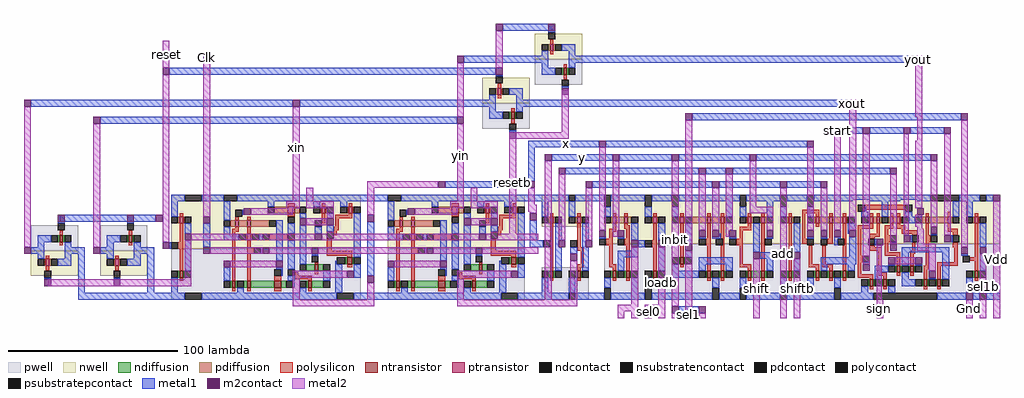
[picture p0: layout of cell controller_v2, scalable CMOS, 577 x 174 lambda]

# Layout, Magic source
magic
tech scmos
<< pwell >>
rect -18 -31 13 -1
rect 201 -31 229 -12
rect 238 -31 472 2
<< nwell >>
rect -18 -1 13 31
rect 201 12 229 31
rect 238 2 472 31
<< polysilicon >>
rect 355 20 365 22
rect 392 22 416 25
rect -13 18 -11 20
rect 206 18 208 20
rect 222 18 224 20
rect 243 18 245 20
rect 250 18 252 20
rect 267 18 269 20
rect 283 18 285 20
rect 299 18 301 20
rect 307 18 309 20
rect 323 18 325 20
rect 331 18 333 20
rect 347 18 349 20
rect -13 3 -11 14
rect -14 -1 -11 3
rect -13 -14 -11 -1
rect 206 -14 208 14
rect 222 0 224 14
rect 243 11 245 14
rect 250 13 252 14
rect 250 11 253 13
rect 241 9 245 11
rect 241 5 243 9
rect 251 5 253 11
rect 239 1 243 5
rect 250 1 253 5
rect 267 4 269 14
rect 283 5 285 14
rect 299 5 301 14
rect 307 5 309 14
rect 323 12 325 14
rect 318 10 325 12
rect 318 5 320 10
rect 222 -2 226 0
rect 224 -10 226 -2
rect 222 -12 226 -10
rect 241 -10 243 1
rect 241 -12 245 -10
rect 222 -14 224 -12
rect 243 -14 245 -12
rect 251 -14 253 1
rect 266 0 269 4
rect 282 1 285 5
rect 298 1 301 5
rect 308 1 309 5
rect 316 1 320 5
rect 267 -14 269 0
rect 283 -6 285 1
rect 283 -12 285 -10
rect 299 -14 301 1
rect 307 -14 309 1
rect 318 -10 320 1
rect 318 -12 325 -10
rect 323 -14 325 -12
rect 331 -14 333 14
rect 347 -3 349 14
rect 355 5 357 20
rect 363 18 365 20
rect 371 18 373 20
rect 379 18 381 20
rect 395 18 397 20
rect 399 18 401 20
rect 407 18 409 20
rect 411 18 413 20
rect 428 18 430 20
rect 441 18 443 21
rect 457 18 459 20
rect 363 12 365 14
rect 371 5 373 14
rect 379 5 381 14
rect 395 13 397 14
rect 355 2 358 5
rect 370 2 373 5
rect 380 1 381 5
rect 346 -7 349 -3
rect 347 -14 349 -7
rect 359 -10 361 1
rect 367 -10 369 1
rect 359 -12 365 -10
rect 367 -12 373 -10
rect 363 -14 365 -12
rect 371 -14 373 -12
rect 379 -14 381 1
rect 388 11 397 13
rect 388 -5 390 11
rect 399 8 401 14
rect 407 13 409 14
rect 395 6 401 8
rect 404 11 409 13
rect 411 13 413 14
rect 411 11 416 13
rect 404 7 406 11
rect 414 10 416 11
rect 414 8 423 10
rect 420 7 423 8
rect 428 7 430 14
rect 441 11 443 14
rect 441 9 447 11
rect 444 7 447 9
rect 395 5 398 6
rect 395 0 398 1
rect 404 3 407 7
rect 428 3 431 7
rect 395 -2 402 0
rect 388 -9 391 -5
rect 388 -16 390 -9
rect 400 -15 402 -2
rect 404 -3 406 3
rect 420 -2 422 3
rect 404 -5 413 -3
rect 411 -11 413 -5
rect 419 -4 422 -2
rect 419 -11 421 -4
rect 428 -11 430 3
rect 444 0 447 3
rect 445 -9 447 0
rect 457 -6 459 14
rect 454 -8 459 -6
rect 427 -13 430 -11
rect 435 -11 447 -9
rect 388 -18 397 -16
rect 400 -17 405 -15
rect 411 -17 413 -15
rect 419 -17 421 -15
rect -13 -20 -11 -18
rect 206 -20 208 -18
rect 222 -20 224 -18
rect 243 -20 245 -18
rect 251 -20 253 -18
rect 267 -20 269 -18
rect 299 -20 301 -18
rect 307 -20 309 -18
rect 323 -20 325 -18
rect 331 -20 333 -18
rect 347 -20 349 -18
rect 363 -20 365 -18
rect 371 -20 373 -18
rect 379 -20 381 -18
rect 395 -19 397 -18
rect 403 -19 405 -17
rect 427 -19 429 -13
rect 435 -19 437 -11
rect 457 -14 459 -8
rect 457 -20 459 -18
rect 395 -25 397 -23
rect 403 -25 405 -23
rect 427 -25 429 -23
rect 435 -25 437 -23
<< ndiffusion >>
rect 282 -10 283 -6
rect 285 -10 286 -6
rect -14 -18 -13 -14
rect -11 -18 -10 -14
rect 205 -18 206 -14
rect 208 -18 209 -14
rect 221 -18 222 -14
rect 224 -18 225 -14
rect 242 -18 243 -14
rect 245 -18 246 -14
rect 250 -18 251 -14
rect 253 -18 254 -14
rect 266 -18 267 -14
rect 269 -18 270 -14
rect 298 -18 299 -14
rect 301 -18 302 -14
rect 306 -18 307 -14
rect 309 -18 310 -14
rect 322 -18 323 -14
rect 325 -18 331 -14
rect 333 -18 334 -14
rect 346 -18 347 -14
rect 349 -18 350 -14
rect 362 -18 363 -14
rect 365 -18 366 -14
rect 370 -18 371 -14
rect 373 -18 374 -14
rect 378 -18 379 -14
rect 381 -18 382 -14
rect 410 -15 411 -11
rect 413 -15 414 -11
rect 418 -15 419 -11
rect 421 -15 422 -11
rect 456 -18 457 -14
rect 459 -18 460 -14
rect 394 -23 395 -19
rect 397 -23 398 -19
rect 402 -23 403 -19
rect 405 -23 406 -19
rect 426 -23 427 -19
rect 429 -23 430 -19
rect 434 -23 435 -19
rect 437 -23 438 -19
<< pdiffusion >>
rect -14 14 -13 18
rect -11 14 -10 18
rect 205 14 206 18
rect 208 14 209 18
rect 221 14 222 18
rect 224 14 225 18
rect 242 14 243 18
rect 245 14 250 18
rect 252 14 254 18
rect 266 14 267 18
rect 269 14 270 18
rect 282 14 283 18
rect 285 14 286 18
rect 290 14 299 18
rect 301 14 307 18
rect 309 14 310 18
rect 322 14 323 18
rect 325 14 326 18
rect 330 14 331 18
rect 333 14 334 18
rect 346 14 347 18
rect 349 14 350 18
rect 362 14 363 18
rect 365 14 371 18
rect 373 14 379 18
rect 381 14 382 18
rect 394 14 395 18
rect 397 14 399 18
rect 401 14 402 18
rect 406 14 407 18
rect 409 14 411 18
rect 413 14 414 18
rect 426 14 428 18
rect 430 14 441 18
rect 443 14 444 18
rect 456 14 457 18
rect 459 14 460 18
<< metal1 >>
rect 178 128 209 132
rect 155 109 197 113
rect 225 109 422 113
rect -19 102 174 106
rect -101 83 54 87
rect 58 83 166 87
rect 191 83 383 87
rect -60 73 151 77
rect 290 75 449 79
rect 378 67 391 71
rect 395 67 415 71
rect 419 67 439 71
rect 193 59 235 63
rect 239 59 358 63
rect 193 39 197 59
rect 207 51 243 55
rect 247 51 278 55
rect 282 51 324 55
rect 328 51 431 55
rect 215 43 294 47
rect 298 43 310 47
rect 314 43 407 47
rect 144 35 193 39
rect 231 35 302 39
rect 306 35 342 39
rect 346 35 366 39
rect -18 27 -10 31
rect 0 27 8 31
rect 199 27 217 31
rect 221 27 238 31
rect -84 15 -27 19
rect -18 18 -14 27
rect -10 8 -6 14
rect -73 -27 -69 0
rect -32 -27 -28 0
rect -19 -1 -18 3
rect -10 -14 -6 4
rect 1 0 5 14
rect 98 -17 102 15
rect 194 4 198 16
rect 201 18 205 27
rect 217 18 221 27
rect 242 27 262 31
rect 238 18 242 24
rect 266 27 278 31
rect 262 18 266 24
rect 282 27 318 31
rect 278 18 282 24
rect 310 18 314 27
rect 322 27 342 31
rect 318 18 322 24
rect 334 18 338 27
rect 346 27 358 31
rect 342 18 346 24
rect 362 28 431 31
rect 362 27 385 28
rect 395 27 413 28
rect 423 27 431 28
rect 448 27 460 31
rect 464 27 468 31
rect 358 18 362 24
rect 392 21 393 24
rect 390 18 394 21
rect 402 18 406 27
rect 416 18 420 21
rect 423 18 426 19
rect 418 14 422 18
rect 444 18 448 27
rect 452 18 456 27
rect 209 4 213 14
rect 225 4 229 14
rect 235 5 239 6
rect 194 0 202 4
rect 209 0 211 4
rect 209 -14 213 0
rect 218 -4 222 0
rect 225 0 227 4
rect 246 5 250 6
rect 254 4 258 14
rect 270 5 274 14
rect 270 4 278 5
rect 258 0 262 4
rect 274 1 278 4
rect 286 2 290 14
rect 225 -14 229 0
rect 254 -2 258 0
rect 246 -6 258 -2
rect 246 -14 250 -6
rect 270 -14 274 0
rect 294 5 298 6
rect 306 6 307 8
rect 302 5 307 6
rect 312 5 316 6
rect 286 -6 290 -2
rect 326 -3 330 14
rect 334 5 338 6
rect 350 -3 354 14
rect 382 12 386 14
rect 382 10 387 12
rect 358 5 362 6
rect 366 5 370 6
rect 382 8 383 10
rect 374 5 378 6
rect 431 7 435 8
rect 374 1 376 5
rect -18 -27 -14 -18
rect 201 -27 205 -18
rect 217 -27 221 -18
rect 238 -24 242 -18
rect -73 -31 -10 -27
rect 0 -31 6 -27
rect 199 -31 217 -27
rect 221 -31 238 -27
rect 254 -27 258 -18
rect 294 -10 314 -6
rect 330 -7 342 -3
rect 383 -6 387 6
rect 398 1 399 5
rect 419 3 420 7
rect 443 3 444 7
rect 407 2 411 3
rect 460 0 464 14
rect 414 -3 442 0
rect 278 -14 282 -10
rect 294 -14 298 -10
rect 310 -14 314 -10
rect 334 -14 338 -7
rect 350 -14 354 -7
rect 366 -10 387 -6
rect 391 -10 395 -9
rect 366 -14 370 -10
rect 382 -14 386 -10
rect 406 -11 410 -10
rect 278 -18 294 -14
rect 398 -15 406 -11
rect 414 -11 418 -3
rect 422 -11 426 -10
rect 262 -24 266 -18
rect 242 -31 262 -27
rect 302 -24 306 -18
rect 266 -31 302 -27
rect 318 -24 322 -18
rect 306 -31 318 -27
rect 342 -24 346 -18
rect 322 -31 342 -27
rect 358 -27 362 -18
rect 374 -24 378 -18
rect 398 -19 402 -15
rect 414 -19 418 -15
rect 430 -19 434 -18
rect 346 -31 374 -27
rect 414 -23 422 -19
rect 438 -19 442 -3
rect 449 -5 453 -4
rect 460 -14 464 -4
rect 390 -27 394 -23
rect 406 -27 410 -23
rect 452 -27 456 -18
rect 378 -31 397 -27
rect 435 -31 452 -27
rect 456 -31 460 -27
rect 464 -31 472 -27
rect 282 -39 294 -35
<< metal2 >>
rect -23 106 -19 122
rect -105 0 -101 83
rect -64 0 -60 73
rect -23 3 -19 102
rect 1 18 5 110
rect 54 35 58 83
rect 151 77 155 109
rect 174 106 178 128
rect 98 35 140 39
rect 151 35 155 73
rect 213 68 217 93
rect 182 64 217 68
rect 98 19 102 35
rect 182 8 186 64
rect 193 25 197 35
rect 193 21 198 25
rect 194 20 198 21
rect -6 4 6 8
rect -10 -19 -6 4
rect -91 -23 -6 -19
rect 98 -31 102 -21
rect 203 -31 207 51
rect 211 4 215 43
rect 227 4 231 35
rect 235 10 239 59
rect 243 10 247 51
rect 243 6 246 10
rect 218 -31 222 -8
rect 58 -35 102 -31
rect 155 -35 222 -31
rect 254 -34 258 0
rect 270 -34 274 0
rect 246 -38 258 -34
rect 246 -42 250 -38
rect 254 -42 258 -38
rect 262 -38 274 -34
rect 262 -42 266 -38
rect 270 -42 274 -38
rect 278 -35 282 51
rect 278 -42 282 -39
rect 286 2 290 75
rect 294 10 298 43
rect 302 10 306 35
rect 310 10 314 43
rect 324 24 328 51
rect 324 20 338 24
rect 334 10 338 20
rect 310 6 312 10
rect 286 -42 290 -2
rect 294 -42 298 -39
rect 326 -42 330 -7
rect 342 -42 346 35
rect 358 10 362 59
rect 366 10 370 35
rect 374 10 378 67
rect 383 10 387 83
rect 422 77 426 109
rect 350 -42 354 -7
rect 391 -10 395 67
rect 407 2 411 43
rect 415 7 418 67
rect 423 63 426 77
rect 422 23 426 63
rect 422 12 426 19
rect 423 11 426 12
rect 431 12 435 51
rect 399 -31 402 1
rect 423 2 427 11
rect 439 7 443 67
rect 423 -2 434 2
rect 410 -10 422 -6
rect 430 -14 434 -2
rect 449 0 453 75
rect 399 -42 403 -31
rect 452 -42 456 -31
rect 460 -42 464 -4
rect 468 -42 472 27
<< ntransistor >>
rect 283 -10 285 -6
rect -13 -18 -11 -14
rect 206 -18 208 -14
rect 222 -18 224 -14
rect 243 -18 245 -14
rect 251 -18 253 -14
rect 267 -18 269 -14
rect 299 -18 301 -14
rect 307 -18 309 -14
rect 323 -18 325 -14
rect 331 -18 333 -14
rect 347 -18 349 -14
rect 363 -18 365 -14
rect 371 -18 373 -14
rect 379 -18 381 -14
rect 411 -15 413 -11
rect 419 -15 421 -11
rect 457 -18 459 -14
rect 395 -23 397 -19
rect 403 -23 405 -19
rect 427 -23 429 -19
rect 435 -23 437 -19
<< ptransistor >>
rect -13 14 -11 18
rect 206 14 208 18
rect 222 14 224 18
rect 243 14 245 18
rect 250 14 252 18
rect 267 14 269 18
rect 283 14 285 18
rect 299 14 301 18
rect 307 14 309 18
rect 323 14 325 18
rect 331 14 333 18
rect 347 14 349 18
rect 363 14 365 18
rect 371 14 373 18
rect 379 14 381 18
rect 395 14 397 18
rect 399 14 401 18
rect 407 14 409 18
rect 411 14 413 18
rect 428 14 430 18
rect 441 14 443 18
rect 457 14 459 18
<< polycontact >>
rect 388 21 392 25
rect 416 21 420 25
rect -18 -1 -14 3
rect 202 0 206 4
rect 218 0 222 4
rect 235 1 239 5
rect 246 1 250 5
rect 262 0 266 4
rect 278 1 282 5
rect 294 1 298 5
rect 304 1 308 5
rect 312 1 316 5
rect 333 1 337 5
rect 358 1 362 5
rect 366 1 370 5
rect 376 1 380 5
rect 342 -7 346 -3
rect 394 1 398 5
rect 407 3 411 7
rect 420 3 424 7
rect 431 3 435 7
rect 444 3 448 7
rect 391 -9 395 -5
rect 450 -9 454 -5
<< ndcontact >>
rect 278 -10 282 -6
rect 286 -10 290 -6
rect -18 -18 -14 -14
rect -10 -18 -6 -14
rect 201 -18 205 -14
rect 209 -18 213 -14
rect 217 -18 221 -14
rect 225 -18 229 -14
rect 238 -18 242 -14
rect 246 -18 250 -14
rect 254 -18 258 -14
rect 262 -18 266 -14
rect 270 -18 274 -14
rect 294 -18 298 -14
rect 302 -18 306 -14
rect 310 -18 314 -14
rect 318 -18 322 -14
rect 334 -18 338 -14
rect 342 -18 346 -14
rect 350 -18 354 -14
rect 358 -18 362 -14
rect 366 -18 370 -14
rect 374 -18 378 -14
rect 382 -18 386 -14
rect 406 -15 410 -11
rect 414 -15 418 -11
rect 422 -15 426 -11
rect 452 -18 456 -14
rect 460 -18 464 -14
rect 390 -23 394 -19
rect 398 -23 402 -19
rect 406 -23 410 -19
rect 422 -23 426 -19
rect 430 -23 434 -19
rect 438 -23 442 -19
<< pdcontact >>
rect -18 14 -14 18
rect -10 14 -6 18
rect 201 14 205 18
rect 209 14 213 18
rect 217 14 221 18
rect 225 14 229 18
rect 238 14 242 18
rect 254 14 258 18
rect 262 14 266 18
rect 270 14 274 18
rect 278 14 282 18
rect 286 14 290 18
rect 310 14 314 18
rect 318 14 322 18
rect 326 14 330 18
rect 334 14 338 18
rect 342 14 346 18
rect 350 14 354 18
rect 358 14 362 18
rect 382 14 386 18
rect 390 14 394 18
rect 402 14 406 18
rect 414 14 418 18
rect 422 14 426 18
rect 444 14 448 18
rect 452 14 456 18
rect 460 14 464 18
<< m2contact >>
rect 174 128 178 132
rect 1 110 5 114
rect 151 109 155 113
rect 422 109 426 113
rect -23 102 -19 106
rect -105 83 -101 87
rect 54 83 58 87
rect 383 83 387 87
rect -64 73 -60 77
rect 151 73 155 77
rect 286 75 290 79
rect 449 75 453 79
rect 374 67 378 71
rect 391 67 395 71
rect 415 67 419 71
rect 439 67 443 71
rect 235 59 239 63
rect 358 59 362 63
rect 203 51 207 55
rect 243 51 247 55
rect 278 51 282 55
rect 324 51 328 55
rect 431 51 435 55
rect 211 43 215 47
rect 294 43 298 47
rect 310 43 314 47
rect 407 43 411 47
rect 140 35 144 39
rect 193 35 197 39
rect 227 35 231 39
rect 302 35 306 39
rect 342 35 346 39
rect 366 35 370 39
rect -27 15 -23 19
rect -10 4 -6 8
rect -105 -4 -101 0
rect -64 -4 -60 0
rect -23 -1 -19 3
rect 1 14 5 18
rect 1 -4 5 0
rect 98 15 102 19
rect 194 16 198 20
rect 468 27 472 31
rect 423 19 427 23
rect 235 6 239 10
rect 211 0 215 4
rect 218 -8 222 -4
rect 227 0 231 4
rect 246 6 250 10
rect 254 0 258 4
rect 270 0 274 4
rect 286 -2 290 2
rect 294 6 298 10
rect 302 6 306 10
rect 312 6 316 10
rect 334 6 338 10
rect 358 6 362 10
rect 366 6 370 10
rect 374 6 378 10
rect 383 6 387 10
rect 431 8 435 12
rect 98 -21 102 -17
rect 326 -7 330 -3
rect 350 -7 354 -3
rect 399 1 403 5
rect 415 3 419 7
rect 439 3 443 7
rect 407 -2 411 2
rect 391 -14 395 -10
rect 406 -10 410 -6
rect 422 -10 426 -6
rect 430 -18 434 -14
rect 449 -4 453 0
rect 460 -4 464 0
rect 452 -31 456 -27
rect 278 -39 282 -35
rect 294 -39 298 -35
<< psubstratepcontact >>
rect -10 -31 0 -27
rect 217 -31 221 -27
rect 238 -31 242 -24
rect 262 -31 266 -24
rect 302 -31 306 -24
rect 318 -31 322 -24
rect 342 -31 346 -24
rect 374 -31 378 -24
rect 397 -31 435 -27
rect 460 -31 464 -27
<< nsubstratencontact >>
rect -10 27 0 31
rect 217 27 221 31
rect 238 24 242 31
rect 262 24 266 31
rect 278 24 282 31
rect 318 24 322 31
rect 342 24 346 31
rect 358 24 362 31
rect 431 27 448 31
rect 460 27 464 31
use transgate  transgate_0
transform 1 0 176 0 1 88
box -10 -24 18 18
use transgate  transgate_1
transform 1 0 207 0 1 114
box -10 -24 18 18
use transgate  transgate_3
transform 1 0 -91 0 -1 -5
box -10 -24 18 18
use transgate  transgate_2
transform 1 0 -50 0 -1 -5
box -10 -24 18 18
use dflipflop  dflipflop_0
transform 1 0 25 0 1 27
box -20 -62 77 8
use dflipflop  dflipflop_1
transform 1 0 122 0 1 27
box -20 -62 77 8
<< labels >>
rlabel metal2 270 -42 274 0 5 loadb
rlabel metal2 254 -42 258 0 5 load
rlabel metal2 286 -42 290 -38 5 sel1
rlabel metal2 326 -42 330 -7 5 shift
rlabel metal2 350 -42 354 -7 5 shiftb
rlabel m2contact 374 67 378 71 1 start
rlabel m2contact 383 83 387 87 1 xout
rlabel metal1 197 59 235 63 1 x
rlabel metal1 207 51 243 55 1 y
rlabel m2contact 422 109 426 113 1 yout
rlabel metal2 182 8 186 68 7 resetb
rlabel metal2 54 35 58 83 7 xin
rlabel metal2 151 35 155 73 7 yin
rlabel metal2 262 -42 266 -34 5 sel0
rlabel metal2 278 -42 282 51 5 inbit
rlabel metal2 342 -42 346 35 5 add
rlabel m2contact 1 110 5 114 7 Clk
rlabel metal2 -23 106 -19 122 1 reset
rlabel metal2 399 -42 403 -31 5 sign
rlabel metal2 460 -42 464 -4 5 sel1b
rlabel metal2 468 -42 472 27 5 Vdd
rlabel metal2 452 -42 456 -31 5 Gnd
rlabel metal2 246 -42 250 -34 5 sel0b
rlabel metal2 294 -42 298 -39 5 addb
<< end >>

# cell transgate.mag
magic
tech scmos
<< pwell >>
rect -10 -18 18 -3
<< nwell >>
rect -10 -3 18 12
<< polysilicon >>
rect -1 6 1 9
rect -1 0 1 2
rect 7 -8 9 -6
rect 7 -15 9 -12
<< ndiffusion >>
rect 6 -12 7 -8
rect 9 -12 10 -8
<< pdiffusion >>
rect -2 2 -1 6
rect 1 2 2 6
<< metal1 >>
rect -2 13 2 14
rect 6 2 14 6
rect -6 -1 -2 2
rect -10 -5 -2 -1
rect -6 -8 -2 -5
rect 10 -1 14 2
rect 10 -5 18 -1
rect 10 -8 14 -5
rect -6 -12 2 -8
rect 6 -20 10 -19
<< ntransistor >>
rect 7 -12 9 -8
<< ptransistor >>
rect -1 2 1 6
<< polycontact >>
rect -2 9 2 13
rect 6 -19 10 -15
<< ndcontact >>
rect 2 -12 6 -8
rect 10 -12 14 -8
<< pdcontact >>
rect -6 2 -2 6
rect 2 2 6 6
<< m2contact >>
rect -2 14 2 18
rect 6 -24 10 -20
<< end >>

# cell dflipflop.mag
magic
tech scmos
<< pwell >>
rect -12 -58 69 -28
<< nwell >>
rect -12 -28 69 4
<< polysilicon >>
rect 26 -3 30 -1
rect 46 -3 48 -1
rect 62 -3 64 -1
rect 26 -9 30 -7
rect -5 -11 -3 -9
rect 2 -11 4 -9
rect 46 -13 48 -7
rect 62 -8 64 -7
rect 54 -10 64 -8
rect 54 -15 56 -10
rect -5 -16 -3 -15
rect -7 -18 -3 -16
rect -7 -47 -5 -18
rect 2 -19 4 -15
rect 53 -17 56 -15
rect 15 -23 26 -19
rect 53 -20 55 -17
rect 2 -27 4 -23
rect 2 -31 6 -27
rect 49 -29 52 -22
rect 2 -47 4 -31
rect 49 -32 64 -29
rect 61 -33 64 -32
rect 42 -37 44 -36
rect 61 -39 64 -37
rect 30 -44 32 -42
rect 42 -43 44 -41
rect 18 -47 22 -44
rect 30 -46 40 -44
rect 38 -47 40 -46
rect -7 -53 -5 -51
rect 2 -53 4 -51
rect 18 -53 22 -51
rect 38 -53 40 -51
<< ndiffusion >>
rect 60 -37 61 -33
rect 64 -37 65 -33
rect 37 -41 42 -37
rect 44 -41 47 -37
rect -8 -51 -7 -47
rect -5 -51 -4 -47
rect 0 -51 2 -47
rect 4 -51 18 -47
rect 22 -51 25 -47
rect 37 -51 38 -47
rect 40 -51 47 -47
<< pdiffusion >>
rect 18 -7 26 -3
rect 30 -7 33 -3
rect 45 -7 46 -3
rect 48 -7 49 -3
rect 61 -7 62 -3
rect 64 -7 65 -3
rect -8 -15 -5 -11
rect -3 -15 2 -11
rect 4 -15 15 -11
rect 1 -23 2 -19
rect 4 -23 5 -19
<< metal1 >>
rect -20 0 -12 4
rect -4 0 77 4
rect -12 -11 -8 0
rect 14 -3 18 0
rect 41 -3 45 0
rect 57 -3 61 0
rect -1 -8 0 -5
rect -12 -19 -8 -15
rect -12 -23 -3 -19
rect 9 -23 11 -19
rect 10 -31 11 -27
rect 19 -35 23 -11
rect -12 -47 -8 -39
rect 19 -40 23 -39
rect 22 -44 23 -40
rect 26 -19 30 -13
rect 26 -40 30 -23
rect 33 -10 37 -7
rect 49 -10 53 -7
rect 33 -37 37 -14
rect 42 -19 46 -15
rect 49 -18 53 -14
rect 40 -32 44 -31
rect 65 -33 69 -7
rect 54 -37 55 -35
rect 26 -47 30 -44
rect 47 -47 51 -41
rect 29 -51 30 -47
rect -4 -54 0 -51
rect 33 -54 37 -51
rect 54 -54 58 -37
rect 65 -45 69 -37
rect -20 -58 55 -54
rect 65 -58 77 -54
<< metal2 >>
rect 29 0 33 8
rect 25 -4 33 0
rect 37 0 41 8
rect 37 -4 53 0
rect 4 -8 29 -4
rect 49 -10 53 -4
rect 37 -14 49 -10
rect 49 -19 53 -18
rect -20 -23 42 -19
rect 46 -23 77 -19
rect -20 -31 11 -27
rect 15 -31 40 -27
rect 44 -31 77 -27
rect -8 -39 19 -35
rect 29 -45 61 -41
rect 29 -62 33 -45
<< ntransistor >>
rect 61 -37 64 -33
rect 42 -41 44 -37
rect -7 -51 -5 -47
rect 2 -51 4 -47
rect 18 -51 22 -47
rect 38 -51 40 -47
<< ptransistor >>
rect 26 -7 30 -3
rect 46 -7 48 -3
rect 62 -7 64 -3
rect -5 -15 -3 -11
rect 2 -15 4 -11
rect 2 -23 4 -19
<< polycontact >>
rect -5 -9 -1 -5
rect 26 -13 30 -9
rect 42 -15 46 -11
rect 11 -23 15 -19
rect 26 -23 30 -19
rect 49 -22 53 -18
rect 6 -31 10 -27
rect 40 -36 44 -32
rect 18 -44 22 -40
rect 26 -44 30 -40
<< ndcontact >>
rect 55 -37 60 -33
rect 65 -37 69 -33
rect 33 -41 37 -37
rect 47 -41 51 -37
rect -12 -51 -8 -47
rect -4 -51 0 -47
rect 25 -51 29 -47
rect 33 -51 37 -47
rect 47 -51 51 -47
<< pdcontact >>
rect 14 -7 18 -3
rect 33 -7 37 -3
rect 41 -7 45 -3
rect 49 -7 53 -3
rect 57 -7 61 -3
rect 65 -7 69 -3
rect -12 -15 -8 -11
rect 15 -15 19 -11
rect -3 -23 1 -19
rect 5 -23 9 -19
<< m2contact >>
rect 0 -8 4 -4
rect 11 -31 15 -27
rect -12 -39 -8 -35
rect 19 -39 23 -35
rect 33 -14 37 -10
rect 42 -23 46 -19
rect 49 -14 53 -10
rect 40 -31 44 -27
rect 61 -45 65 -41
<< psubstratepcontact >>
rect 55 -58 65 -54
<< nsubstratencontact >>
rect -12 0 -4 4
<< end >>
